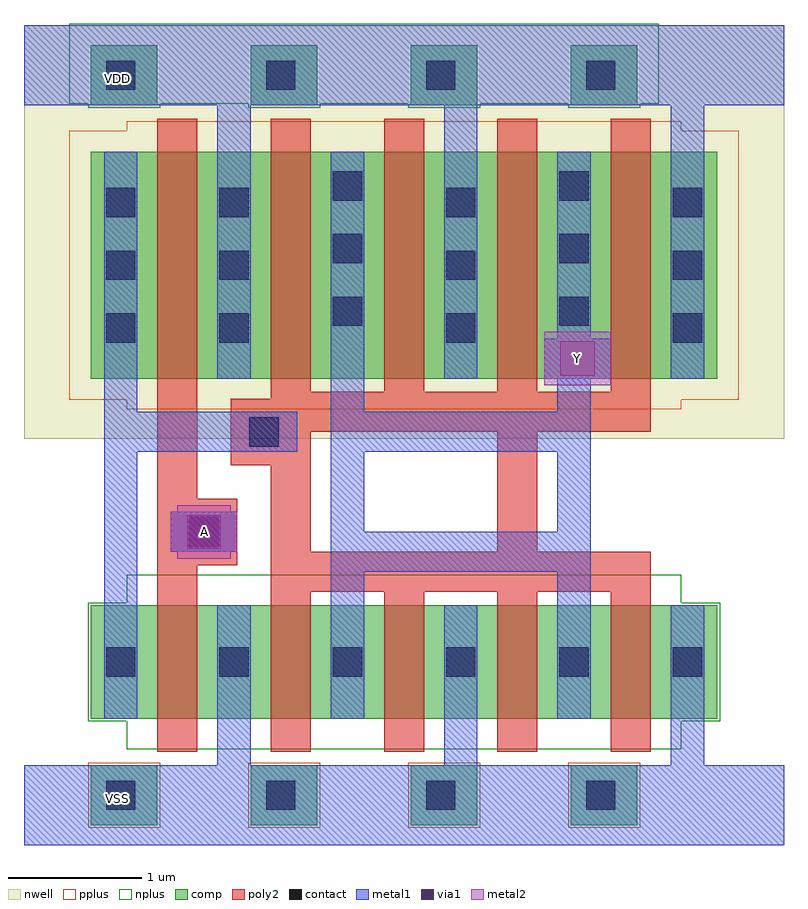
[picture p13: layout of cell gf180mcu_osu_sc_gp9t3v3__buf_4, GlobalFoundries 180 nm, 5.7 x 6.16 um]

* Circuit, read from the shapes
.subckt gf180mcu_osu_sc_gp9t3v3__buf_4 A VDD VSS Y
XM1 VSS A n1 VSS nfet_03v3 w=0.85u l=0.3u
XM2 Y n1 VSS VSS nfet_03v3 w=0.85u l=0.3u m=4
XM3 VDD A n1 VDD pfet_03v3 w=1.7u l=0.3u
XM4 Y n1 VDD VDD pfet_03v3 w=1.7u l=0.3u m=4
.ends

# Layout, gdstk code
import gdstk
lib = gdstk.Library(unit=1e-6, precision=1e-09)
def R(c, l, rs):  # rectangles x0, y0, x1, y1
    for r in rs: c.add(gdstk.rectangle(r[:2], r[2:], *l))
def A(c, l, x, y, w, h, nx, ny, dx, dy):  # array of equal rectangles
    R(c, l, [(x+i*dx, y+j*dy, x+i*dx+w, y+j*dy+h) for i in range(nx) for j in range(ny)])
nwell = (21, 0)
comp = (22, 0)
poly2 = (30, 0)
pplus = (31, 0)
nplus = (32, 0)
contact = (33, 0)
metal1 = (34, 0)
via1 = (35, 0)
metal2 = (36, 0)

gf180mcu_osu_sc_gp9t3v3_ = lib.new_cell('gf180mcu_osu_sc_gp9t3v3__buf_4')
R(gf180mcu_osu_sc_gp9t3v3_, nwell, [(0,3.05,5.7,6.15)])
A(gf180mcu_osu_sc_gp9t3v3_, comp, 0.5, 0.15, 0.5, 0.45, 4, 2, 1.2, 5.4)
R(gf180mcu_osu_sc_gp9t3v3_, comp, [(0.5,0.95,5.2,1.8), (0.5,3.5,5.2,5.2)])
A(gf180mcu_osu_sc_gp9t3v3_, poly2, 1.85, 0.7, 0.3, 1.2, 4, 1, 0.85, 0)
A(gf180mcu_osu_sc_gp9t3v3_, poly2, 1.85, 3.4, 0.3, 2.05, 4, 1, 0.85, 0)
R(gf180mcu_osu_sc_gp9t3v3_, poly2, [(1,0.7,1.3,2.1), (1.85,1.9,4.7,2.2), (1,2.1,1.6,2.6), (1.85,2.2,2.15,2.85), (3.55,2.2,3.85,3.1), (1,2.6,1.3,5.45), (1.55,2.85,2.15,3.1), (1.55,3.1,4.7,3.35), (1.85,3.35,4.7,3.4)])
A(gf180mcu_osu_sc_gp9t3v3_, pplus, 0.48, 0.13, 0.54, 0.49, 4, 1, 1.2, 0)
R(gf180mcu_osu_sc_gp9t3v3_, pplus, [(0.77,3.27,4.93,3.34), (0.34,3.34,5.36,5.36), (0.77,5.36,4.93,5.43)])
A(gf180mcu_osu_sc_gp9t3v3_, nplus, 0.48, 5.53, 0.54, 0.03, 4, 1, 1.2, 0)
R(gf180mcu_osu_sc_gp9t3v3_, nplus, [(0.77,0.72,4.93,0.93), (0.48,0.93,5.22,1.82), (0.77,1.82,4.93,2.03), (0.34,5.56,4.76,6.16)])
A(gf180mcu_osu_sc_gp9t3v3_, contact, 0.615, 0.265, 0.22, 0.22, 4, 2, 1.2, 5.4)
A(gf180mcu_osu_sc_gp9t3v3_, contact, 0.615, 1.265, 0.22, 0.22, 6, 1, 0.85, 0)
A(gf180mcu_osu_sc_gp9t3v3_, contact, 0.615, 3.77, 0.22, 0.22, 1, 3, 0, 0.47)
A(gf180mcu_osu_sc_gp9t3v3_, contact, 1.465, 3.77, 0.22, 0.22, 3, 3, 1.7, 0.47)
A(gf180mcu_osu_sc_gp9t3v3_, contact, 2.315, 3.895, 0.22, 0.22, 1, 3, 0, 0.47)
A(gf180mcu_osu_sc_gp9t3v3_, contact, 4.015, 3.895, 0.22, 0.22, 1, 3, 0, 0.47)
R(gf180mcu_osu_sc_gp9t3v3_, contact, [(1.24,2.24,1.46,2.46), (1.69,2.99,1.91,3.21)])
A(gf180mcu_osu_sc_gp9t3v3_, metal1, 1.45, 0.6, 0.25, 1.2, 3, 1, 1.7, 0)
A(gf180mcu_osu_sc_gp9t3v3_, metal1, 1.45, 3.5, 0.25, 2.05, 3, 1, 1.7, 0)
R(gf180mcu_osu_sc_gp9t3v3_, metal1, [(0,0,5.7,0.6), (0.6,0.95,0.85,2.95), (2.3,0.95,2.55,2.05), (4,0.95,4.25,2.05), (2.3,2.05,4.25,2.35), (1.1,2.2,1.6,2.5), (2.3,2.35,2.55,2.95), (4,2.35,4.25,2.95), (0.6,2.95,2.05,3.25), (2.3,2.95,4.25,3.25), (0.6,3.25,0.85,5.2), (2.3,3.25,2.55,5.2), (4,3.25,4.25,3.5), (3.9,3.5,4.4,3.8), (4,3.8,4.25,5.2), (0,5.55,5.7,6.15)])
R(gf180mcu_osu_sc_gp9t3v3_, via1, [(1.22,2.22,1.48,2.48), (4.02,3.52,4.28,3.78)])
R(gf180mcu_osu_sc_gp9t3v3_, metal2, [(1.15,2.15,1.55,2.2), (1.1,2.2,1.6,2.5), (1.15,2.5,1.55,2.55), (3.9,3.45,4.4,3.85)])
gf180mcu_osu_sc_gp9t3v3_.add(gdstk.Label('A', (1.35,2.35), layer=36, texttype=10))
gf180mcu_osu_sc_gp9t3v3_.add(gdstk.Label('Y', (4.15,3.65), layer=36, texttype=10))
gf180mcu_osu_sc_gp9t3v3_.add(gdstk.Label('VDD', (0.7,5.75), layer=34, texttype=10))
gf180mcu_osu_sc_gp9t3v3_.add(gdstk.Label('VSS', (0.7,0.35), layer=34, texttype=10))

lib.write_gds('gf180mcu_osu_sc_gp9t3v3__buf_4.gds')
